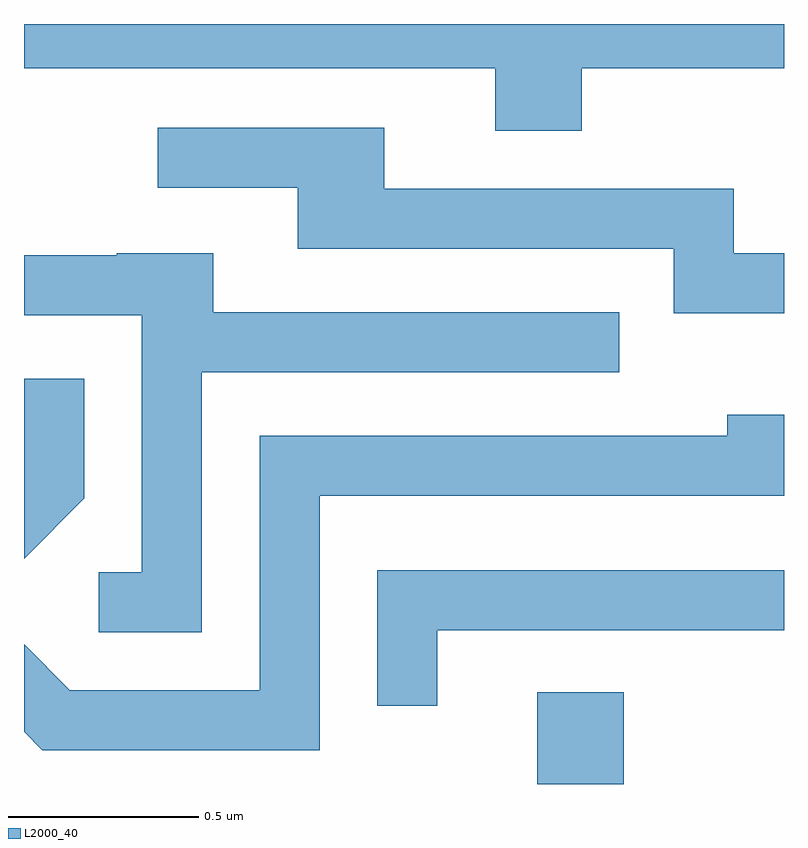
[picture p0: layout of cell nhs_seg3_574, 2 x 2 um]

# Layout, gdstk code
import gdstk
lib = gdstk.Library(unit=1e-6, precision=1e-09)
def R(c, l, rs):  # rectangles x0, y0, x1, y1
    for r in rs: c.add(gdstk.rectangle(r[:2], r[2:], *l))
def P(c, l, *ps):  # polygons
    for p in ps: c.add(gdstk.Polygon(p, *l))
L2000_40 = (2000, 40)

nhs_seg3_574 = lib.new_cell('nhs_seg3_574')
R(nhs_seg3_574, L2000_40, [(190.961,1141.892,191.189,1142.134)])
P(nhs_seg3_574, L2000_40, [(191.079,1143.776),(191.611,1143.776),(191.611,1143.892),(189.611,1143.892),(189.611,1143.776),(190.851,1143.776),(190.851,1143.611),(191.079,1143.611)],
  [(191.611,1143.289),(191.479,1143.289),(191.479,1143.459),(190.559,1143.459),(190.559,1143.619),(189.963,1143.619),(189.963,1143.461),(190.331,1143.461),(190.331,1143.301),(191.321,1143.301),(191.321,1143.131),(191.611,1143.131)],
  [(190.079,1142.976),(191.178,1142.976),(191.178,1143.134),(190.109,1143.134),(190.109,1143.289),(189.855,1143.289),(189.855,1143.284),(189.611,1143.284),(189.611,1143.126),(189.921,1143.126),(189.921,1142.449),(189.808,1142.449),(189.808,1142.291),(190.079,1142.291)],
  [(189.769,1142.644),(189.769,1142.958),(189.611,1142.958),(189.611,1142.485)],
  [(190.389,1142.651),(191.611,1142.651),(191.611,1142.864),(191.461,1142.864),(191.461,1142.809),(190.231,1142.809),(190.231,1142.139),(189.732,1142.139),(189.611,1142.26),(189.611,1142.029),(189.659,1141.981),(190.389,1141.981)],
  [(190.699,1142.296),(191.611,1142.296),(191.611,1142.454),(190.541,1142.454),(190.541,1142.098),(190.699,1142.098)])

lib.write_gds('nhs_seg3_574.gds')
